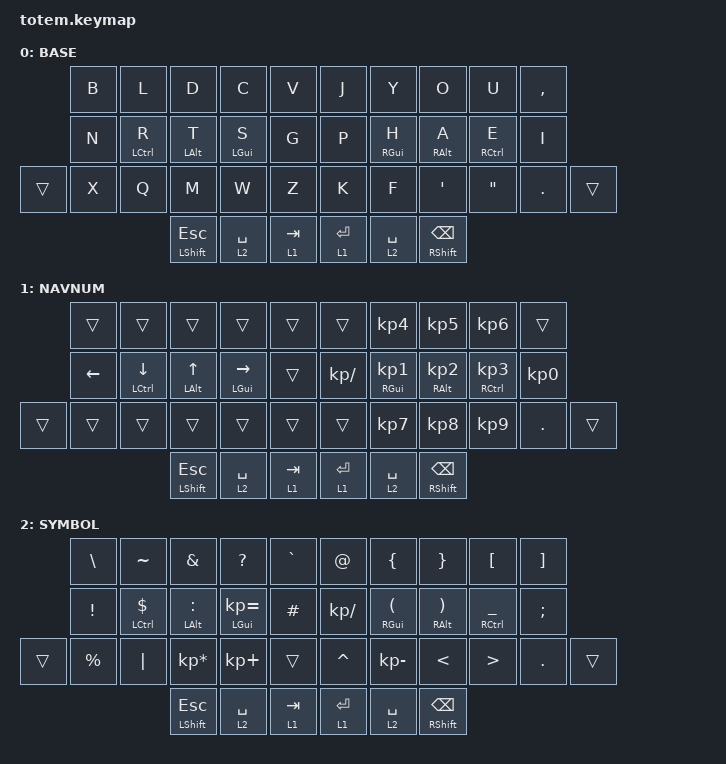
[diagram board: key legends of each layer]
#include <behaviors.dtsi>
#include <dt-bindings/zmk/keys.h>
#include "zmk-helpers/helper.h"
#include "zmk-helpers/key-labels/totem.h"

#define BASE 0
#define NAV  1
#define SYM  2
#define QUICK_TAP_MS 175

&lt {
    flavor = "balanced";
    tapping-term-ms = <200>;
    quick-tap-ms = <QUICK_TAP_MS>;
};

#define KEYS_L LT0 LT1 LT2 LT3 LT4 LM0 LM1 LM2 LM3 LM4 LB0 LB1 LB2 LB3 LB4
#define KEYS_R RT0 RT1 RT2 RT3 RT4 RM0 RM1 RM2 RM3 RM4 RB0 RB1 RB2 RB3 RB4
#define THUMBS LH2 LH1 LH0 RH0 RH1 RH2

/ {
    behaviors {
        hml: home_row_mod_left {
            compatible = "zmk,behavior-hold-tap";
            #binding-cells = <2>;
            flavor = "balanced";
            require-prior-idle-ms = <150>;
            tapping-term-ms = <280>;
            quick-tap-ms = <QUICK_TAP_MS>;
            bindings = <&kp>, <&kp>;
            hold-trigger-key-positions = <KEYS_R>;
            hold-trigger-on-release;
        };

        hmr: home_row_mod_right {
            compatible = "zmk,behavior-hold-tap";
            #binding-cells = <2>;
            flavor = "balanced";
            require-prior-idle-ms = <150>;
            tapping-term-ms = <280>;
            quick-tap-ms = <QUICK_TAP_MS>;
            bindings = <&kp>, <&kp>;
            hold-trigger-key-positions = <KEYS_R>;
            hold-trigger-on-release;
        };
    };

    combos { compatible = "zmk,combos"; };

    keymap {
        compatible = "zmk,keymap";

        base_layer {
            label = "BASE";
            bindings = <
        &kp B  &kp L                &kp D                  &kp C            &kp V        &kp J      &kp Y             &kp O                      &kp U                 &kp COMMA
        &kp N  &hml LEFT_CONTROL R  &hml LEFT_ALT T        &hml LEFT_GUI S  &kp G        &kp P      &hmr RIGHT_GUI H  &hmr RIGHT_ALT A           &hmr RIGHT_CONTROL E  &kp I
&trans  &kp X  &kp Q                &kp M                  &kp W            &kp Z        &kp K      &kp F             &kp SINGLE_QUOTE           &kp DOUBLE_QUOTES     &kp PERIOD  &trans
                                    &mt LEFT_SHIFT ESCAPE  &lt 2 SPACE      &lt 1 TAB    &lt 1 RET  &lt 2 SPACE       &mt RIGHT_SHIFT BACKSPACE
            >;
        };

        navnum_layer {
            label = "NAVNUM";
            bindings = <
        &trans          &trans                        &trans                  &trans                     &trans       &trans        &kp KP_NUMBER_4             &kp KP_NUMBER_5             &kp KP_NUMBER_6                 &trans
        &kp LEFT_ARROW  &hml LEFT_CONTROL DOWN_ARROW  &hml LEFT_ALT UP_ARROW  &hml LEFT_GUI RIGHT_ARROW  &trans       &kp KP_SLASH  &hmr RIGHT_GUI KP_NUMBER_1  &hmr RIGHT_ALT KP_NUMBER_2  &hmr RIGHT_CONTROL KP_NUMBER_3  &kp KP_NUMBER_0
&trans  &trans          &trans                        &trans                  &trans                     &trans       &trans        &kp KP_NUMBER_7             &kp KP_NUMBER_8             &kp KP_NUMBER_9                 &kp PERIOD       &trans
                                                      &mt LEFT_SHIFT ESCAPE   &lt 2 SPACE                &lt 1 TAB    &lt 1 RET     &lt 2 SPACE                 &mt RIGHT_SHIFT BACKSPACE
            >;
        };

        symbol_layer {
            label = "SYMBOL";
            bindings = <
        &kp BACKSLASH    &kp TILDE                 &kp AMPERSAND          &kp QUESTION            &kp GRAVE    &kp AT_SIGN   &kp LEFT_BRACE                   &kp RIGHT_BRACE                   &kp LEFT_BRACKET               &kp RIGHT_BRACKET
        &kp EXCLAMATION  &hml LEFT_CONTROL DOLLAR  &hml LEFT_ALT COLON    &hml LEFT_GUI KP_EQUAL  &kp POUND    &kp KP_SLASH  &hmr RIGHT_GUI LEFT_PARENTHESIS  &hmr RIGHT_ALT RIGHT_PARENTHESIS  &hmr RIGHT_CONTROL UNDERSCORE  &kp SEMICOLON
&trans  &kp PERCENT      &kp PIPE                  &kp KP_ASTERISK        &kp KP_PLUS             &trans       &kp CARET     &kp KP_SUBTRACT                  &kp LESS_THAN                     &kp GREATER_THAN               &kp PERIOD         &trans
                                                   &mt LEFT_SHIFT ESCAPE  &lt 2 SPACE             &lt 1 TAB    &lt 1 RET     &lt 2 SPACE                      &mt RIGHT_SHIFT BACKSPACE
            >;
        };
    };
};
